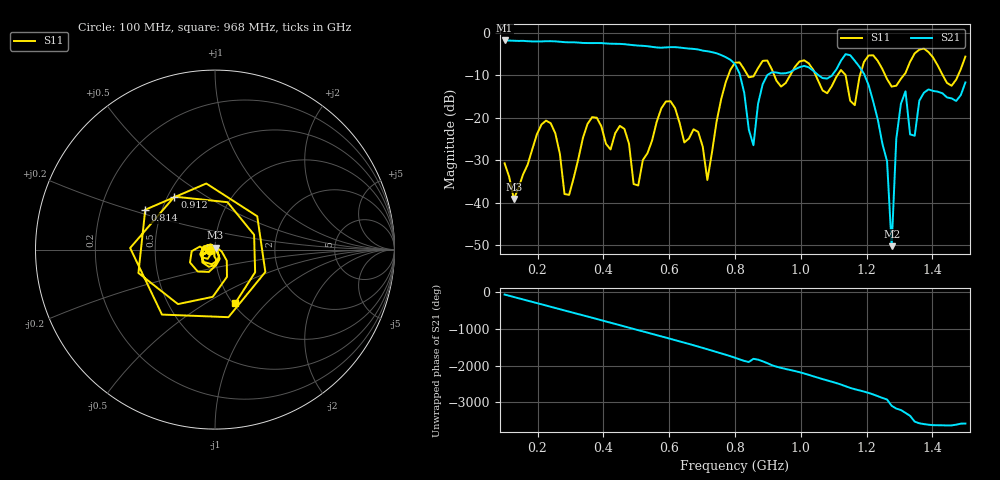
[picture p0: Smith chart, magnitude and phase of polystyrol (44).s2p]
! NanoVNA-App
! Date: 2025-09-25 15:30:14
! Start: 100MHz Stop: 1,5GHz Points: 101
! S-Parameter data: F S11 S21 S12 S22
# Hz S RI R 50
!  Frequency  S11_Real  S11_Imag  S21_Real  S21_Imag  S12_Real  S12_Imag  S22_Real  S22_Imag
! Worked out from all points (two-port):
!   101 points, 100 MHz to 1.5 GHz, reference 50 ohm
!   highest |S21| = -1.80 dB at 100 MHz (marker M1); lowest = -50.2 dB at 1.276 GHz (marker M2)
!   |S21| within 3 dB of the highest: start of sweep to 743.1 MHz
!   lowest |S11| = -39.1 dB at 128 MHz (marker M3), VSWR 1.02, Z = 50.3 + j1.07 ohm
!   |S11| at or under -10 dB: start of sweep to 779.7 MHz; 1.045 GHz to 1.111 GHz (65.89 MHz wide, 6.11 % of centre); 1.257 GHz to 1.312 GHz (55.73 MHz wide, 4.34 % of centre) (the widest 3 of 7)
!   S12 and S22 are empty: the file has one direction only
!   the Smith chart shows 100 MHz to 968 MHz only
!   S11 on the Smith chart (normalised r, x): 100 MHz: 0.94, -0.01; 814 MHz: 0.40, +0.22; 912 MHz: 0.54, +0.37; 968 MHz: 1.03, -0.68
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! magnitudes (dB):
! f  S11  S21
! 100 MHz  -30.7  -1.8
! 128 MHz  -39.1  -1.9
! 212 MHz  -21.6  -2.0
! 282 MHz  -37.9  -2.2
! 338 MHz  -24.7  -2.4
! 464 MHz  -22.6  -2.7
! 506 MHz  -35.9  -3.0
! 576 MHz  -17.8  -3.5
! 716 MHz  -34.6  -4.3
! 800 MHz  -7.0  -7.4
! 814 MHz  -7.0  -9.6
! 856 MHz  -10.3  -26.4
! 912 MHz  -8.6  -9.3
! 968 MHz  -9.9  -9.2
! 1.038 GHz  -8.7  -8.9
! 1.192 GHz  -6.8  -9.6
! 1.262 GHz  -10.9  -30.2
! 1.276 GHz  -12.7  -50.2
! 1.29 GHz  -12.4  -25.0
! 1.318 GHz  -9.4  -13.8
! 1.346 GHz  -4.8  -24.2
! 1.5 GHz  -5.6  -11.7
